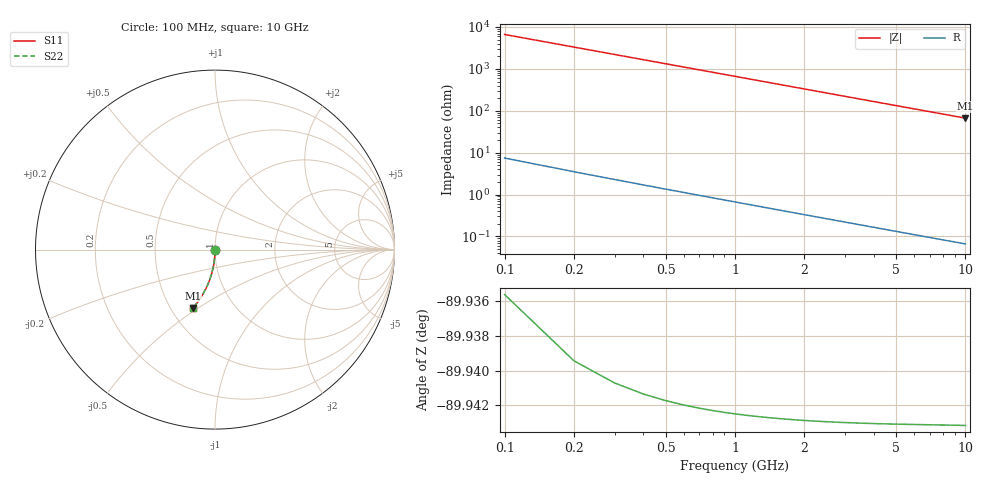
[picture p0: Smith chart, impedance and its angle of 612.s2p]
# Hz S RI R 50.00
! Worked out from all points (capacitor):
!   100 points, 100 MHz to 10 GHz, reference 50 ohm
!   read as one part in shunt: C = 240 fF near 100 MHz
!   lowest |Z| = 66.9 ohm at 10 GHz (marker M1)
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1e8  -1.14e-05 -0.00374  1 -0.00379  1 -0.00379  -1.14e-05 -0.00374
2e8  -5.76e-05 -0.00747  0.9999 -0.00758  0.9999 -0.00758  -5.76e-05 -0.00747
3e8  -0.000132 -0.0112  0.9999 -0.0114  0.9999 -0.0114  -0.000132 -0.0112
4e8  -0.000235 -0.0149  0.9998 -0.0152  0.9998 -0.0152  -0.000235 -0.0149
5e8  -0.000366 -0.0187  0.9996 -0.0189  0.9996 -0.0189  -0.000366 -0.0187
6e8  -0.000525 -0.0224  0.9995 -0.0227  0.9995 -0.0227  -0.000525 -0.0224
7e8  -0.000713 -0.0261  0.9993 -0.0265  0.9993 -0.0265  -0.000713 -0.0261
8e8  -0.000928 -0.0299  0.9991 -0.0303  0.9991 -0.0303  -0.000928 -0.0299
9e8  -0.00117 -0.0336  0.9988 -0.0341  0.9988 -0.0341  -0.00117 -0.0336
1.1e9  -0.00174 -0.041  0.9982 -0.0416  0.9982 -0.0416  -0.00174 -0.041
1.4e9  -0.00281 -0.0521  0.9972 -0.0529  0.9972 -0.0529  -0.00281 -0.0521
1.8e9  -0.00462 -0.0669  0.9954 -0.0679  0.9954 -0.0679  -0.00462 -0.0669
2.1e9  -0.00627 -0.0779  0.9937 -0.079  0.9937 -0.079  -0.00627 -0.0779
2.5e9  -0.00884 -0.0925  0.9911 -0.0938  0.9911 -0.0938  -0.00884 -0.0925
2.9e9  -0.0118 -0.1069  0.9881 -0.1085  0.9881 -0.1085  -0.0118 -0.1069
3.4e9  -0.0162 -0.1248  0.9838 -0.1266  0.9838 -0.1266  -0.0162 -0.1248
4.2e9  -0.0244 -0.1527  0.9756 -0.155  0.9756 -0.155  -0.0244 -0.1527
5.1e9  -0.0355 -0.1832  0.9645 -0.186  0.9645 -0.186  -0.0355 -0.1832
5.9e9  -0.0469 -0.2093  0.9531 -0.2126  0.9531 -0.2126  -0.0469 -0.2093
6.7e9  -0.0596 -0.2344  0.9404 -0.2381  0.9404 -0.2381  -0.0596 -0.2344
8.4e9  -0.0903 -0.2838  0.9096 -0.2885  0.9096 -0.2885  -0.0903 -0.2838
1e10  -0.1231 -0.3253  0.8769 -0.3309  0.8769 -0.3309  -0.1231 -0.3253
